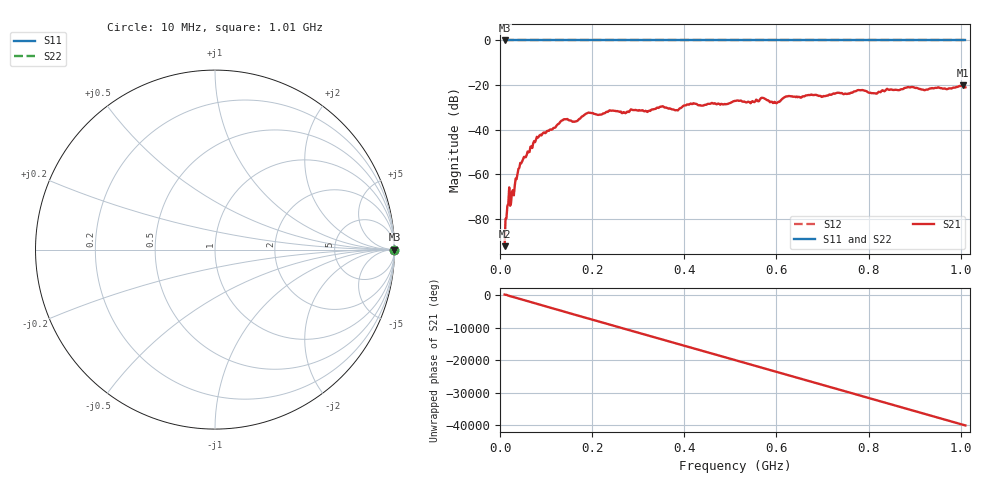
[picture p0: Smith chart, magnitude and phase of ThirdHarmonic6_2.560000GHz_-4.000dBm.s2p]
! 8/17/2025 5:17:18 AM
! C:\ANRITSUVNA\TEMP\TEMP.S2P
! CHANNEL.1
! TR.MEASUREMENT
! RAW.DATA
! RF.CORRECTION.OFF
! AVERAGING.OFF
! IF.BANDWIDTH: 5KHZ
! SWEEPTYPE:  FREQ.SWEEP(Linear)
! Reference Plane Port Info
! PORT:  PORT1  PORT2
! DISTANCE:  0  m  0  m
! TIME:  0  s  0  s
! PHASE.OFFSET:  0  deg.  0  deg.
! LOSS:  0  dB  0  dB
! REF.LOSS:  0  dB  0  dB
! REF.FREQ:  0  Hz  0  Hz
! Power Info
! POWER:  -20  dBm  -20  dBm
! EFF.POWER:  -20  dBm  -20  dBm
! SOURCE.ATTEN:  0  dB  0  dB
! TEST.ATTEN:  0  dB  0  dB
# GHZ S RI R 50.0
! FREQ.GHZ  S11RE  S11IM  S21RE  S21IM  S12RE  S12IM  S22RE  S22IM
!; PortSelection: Port_12
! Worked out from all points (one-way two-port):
!   501 points, 10 MHz to 1.01 GHz, reference 50 ohm
!   highest |S21| = -20.10 dB at 1.004 GHz (marker M1); lowest = -92.2 dB at 10 MHz (marker M2)
!   lowest |S11| = 0.0 dB at 10 MHz (marker M3)
!   |S11| at or under -10 dB: nowhere
!   |S22| runs from 0.0 to 0.0 dB; largest |S21 - S12| = 1.1
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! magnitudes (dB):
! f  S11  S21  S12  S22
! 10 MHz  0.0  -92.2  0.0  0.0
! 24 MHz  0.0  -72.8  0.0  0.0
! 26 MHz  0.0  -67.9  0.0  0.0
! 44 MHz  0.0  -54.9  0.0  0.0
! 76 MHz  0.0  -45.6  0.0  0.0
! 136 MHz  0.0  -35.8  0.0  0.0
! 162 MHz  0.0  -36.4  0.0  0.0
! 178 MHz  0.0  -34.0  0.0  0.0
! 192 MHz  0.0  -32.3  0.0  0.0
! 344 MHz  0.0  -30.2  0.0  0.0
! 382 MHz  0.0  -31.2  0.0  0.0
! 416 MHz  0.0  -28.5  0.0  0.0
! 510 MHz  0.0  -27.1  0.0  0.0
! 570 MHz  0.0  -25.7  0.0  0.0
! 596 MHz  0.0  -27.5  0.0  0.0
! 624 MHz  0.0  -25.0  0.0  0.0
! 678 MHz  0.0  -24.4  0.0  0.0
! 782 MHz  0.0  -22.3  0.0  0.0
! 814 MHz  0.0  -23.7  0.0  0.0
! 844 MHz  0.0  -22.1  0.0  0.0
! 1.004 GHz  0.0  -20.1  0.0  0.0
! 1.01 GHz  0.0  -21.0  0.0  0.0
